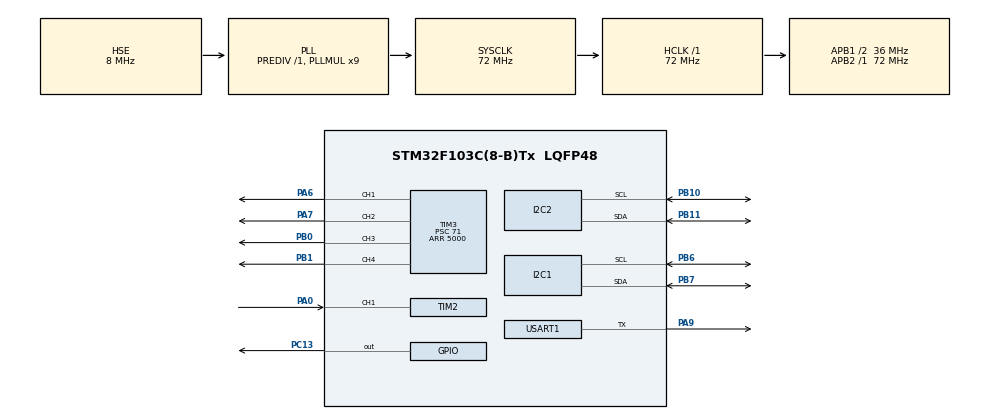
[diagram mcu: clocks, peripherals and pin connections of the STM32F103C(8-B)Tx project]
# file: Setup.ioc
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I2C2.I2C_Mode=I2C_Fast
Mcu.Family=STM32F1
Mcu.Name=STM32F103C(8-B)Tx
Mcu.Package=LQFP48
NVIC.PriorityGroup=NVIC_PRIORITYGROUP_4
NVIC.TIM2_IRQn=true\:0\:0\:false\:false\:true\:true\:true
PA0-WKUP.Signal=S_TIM2_CH1_ETR
PA13.Mode=Serial_Wire
PA13.Signal=SYS_JTMS-SWDIO
PA14.Mode=Serial_Wire
PA14.Signal=SYS_JTCK-SWCLK
PA6.Signal=S_TIM3_CH1
PA7.Signal=S_TIM3_CH2
PA9.Mode=Half_duplex(single_wire_mode)
PA9.Signal=USART1_TX
PB0.Signal=S_TIM3_CH3
PB1.Signal=S_TIM3_CH4
PB10.Mode=I2C
PB10.Signal=I2C2_SCL
PB11.Mode=I2C
PB11.Signal=I2C2_SDA
PB6.Mode=I2C
PB6.Signal=I2C1_SCL
PB7.Mode=I2C
PB7.Signal=I2C1_SDA
PC13-TAMPER-RTC.Signal=GPIO_Output
PD0-OSC_IN.Mode=HSE-External-Oscillator
PD0-OSC_IN.Signal=RCC_OSC_IN
PD1-OSC_OUT.Mode=HSE-External-Oscillator
PD1-OSC_OUT.Signal=RCC_OSC_OUT
ProjectManager.HeapSize=0x200
ProjectManager.StackSize=0x400
ProjectManager.TargetToolchain=Other Toolchains (GPDSC)
RCC.AHBFreq_Value=72000000
RCC.APB1CLKDivider=RCC_HCLK_DIV2
RCC.APB1Freq_Value=36000000
RCC.APB1TimFreq_Value=72000000
RCC.APB2Freq_Value=72000000
RCC.APB2TimFreq_Value=72000000
RCC.HCLKFreq_Value=72000000
RCC.PLLMUL=RCC_PLL_MUL9
RCC.PLLSourceVirtual=RCC_PLLSOURCE_HSE
RCC.SYSCLKFreq_VALUE=72000000
RCC.SYSCLKSource=RCC_SYSCLKSOURCE_PLLCLK
RCC.USBFreq_Value=72000000
SH.S_TIM2_CH1_ETR.0=TIM2_CH1,Input_Capture1_from_TI1
SH.S_TIM3_CH1.0=TIM3_CH1,PWM Generation1 CH1
SH.S_TIM3_CH2.0=TIM3_CH2,PWM Generation2 CH2
SH.S_TIM3_CH3.0=TIM3_CH3,PWM Generation3 CH3
SH.S_TIM3_CH4.0=TIM3_CH4,PWM Generation4 CH4
TIM2.Channel-Input_Capture1_from_TI1=TIM_CHANNEL_1
TIM2.Period=0xFFFF
TIM2.Prescaler=71
TIM3.Channel-PWM\ Generation1\ CH1=TIM_CHANNEL_1
TIM3.Channel-PWM\ Generation2\ CH2=TIM_CHANNEL_2
TIM3.Channel-PWM\ Generation3\ CH3=TIM_CHANNEL_3
TIM3.Channel-PWM\ Generation4\ CH4=TIM_CHANNEL_4
TIM3.Period=5000
TIM3.Prescaler=71
USART1.Mode=MODE_TX
USART1.VirtualMode=VM_ASYNC
board=custom

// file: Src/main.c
/* USER CODE BEGIN Header */
/**
  ******************************************************************************
  * @file           : main.c
  * @brief          : Main program body
  ******************************************************************************
  * @attention
  *
  * <h2><center>&copy; Copyright (c) 2020 STMicroelectronics.
  * All rights reserved.</center></h2>
  *
  * This software component is licensed by ST under BSD 3-Clause license,
  * the "License"; You may not use this file except in compliance with the
  * License. You may obtain a copy of the License at:
  *                        opensource.org/licenses/BSD-3-Clause
  *
  ******************************************************************************
  */
/* USER CODE END Header */

#include "main.h"

/* USER CODE BEGIN Includes */
//#include "motors.h"
//#include "receiver.h"
#include "baro.h"
/* USER CODE END Includes */

/* USER CODE BEGIN PM */
#define SER_MSG_LN 100
/* USER CODE END PM */

I2C_HandleTypeDef hi2c1;
I2C_HandleTypeDef hi2c2;

TIM_HandleTypeDef htim2;
TIM_HandleTypeDef htim3;

UART_HandleTypeDef huart1;

void SystemClock_Config(void);
static void MX_GPIO_Init(void);
static void MX_USART1_UART_Init(void);
static void MX_I2C1_Init(void);
static void MX_I2C2_Init(void);
static void MX_TIM2_Init(void);
static void MX_TIM3_Init(void);

int main(void)
{

  /* MCU Configuration--------------------------------------------------------*/

  /* Reset of all peripherals, Initializes the Flash interface and the Systick. */
  HAL_Init();

  /* Configure the system clock */
  SystemClock_Config();

  /* Initialize all configured peripherals */
  MX_GPIO_Init();
  MX_USART1_UART_Init();
  MX_I2C1_Init();
  MX_I2C2_Init();
  MX_TIM2_Init();
  MX_TIM3_Init();
  /* USER CODE BEGIN 2 */
	//Initializing debug message String
	char message[SER_MSG_LN];
	for (int i = 0; i < SER_MSG_LN; i++) message[i] = ' ';
	message[SER_MSG_LN - 2] = '\n'; message[SER_MSG_LN - 1] = '\r';

	sprintf(message, "Setup start"); //x24: busy, x20 ready
	HAL_UART_Transmit(&huart1, (uint8_t *)message, SER_MSG_LN, 1000);

	//init_motors(&htim3);
	//init_receiver(&htim2);
	//Reset i2c
	__HAL_RCC_I2C2_FORCE_RESET();
	HAL_Delay(1000);
	__HAL_RCC_I2C2_RELEASE_RESET();
	MX_I2C2_Init();
	HAL_Delay(100);
	init_baro(&hi2c2);
	int loopcount = 0;
  /* USER CODE END 2 */

  /* Infinite loop */
  while (1)
  {

    /* USER CODE BEGIN 3 */

	  //set_motors(channel[2]);
	  read_baro();

	  for (int i = 0; i < SER_MSG_LN; i++) message[i] = ' ';
	  message[SER_MSG_LN - 2] = '\n'; message[SER_MSG_LN - 1] = '\r';

	  //sprintf(message, "Channels: 1: %d, 2: %d 3: %d, 4: %d, 5: %d, 6: %d", channel[0], channel[1], channel[2], channel[3], channel[4], channel[5]);        //x24: busy, x20 ready
	  sprintf(message, "pressure: %d", (int)(actual_pressure*1000));
	  if (loopcount ++ % 10 == 0)HAL_UART_Transmit(&huart1, (uint8_t *)message, SER_MSG_LN, 1000);

	  HAL_Delay(4);
  }
  /* USER CODE END 3 */
}

void SystemClock_Config(void)
{
  RCC_OscInitTypeDef RCC_OscInitStruct = {0};
  RCC_ClkInitTypeDef RCC_ClkInitStruct = {0};

  /** Initializes the CPU, AHB and APB busses clocks
  */
  RCC_OscInitStruct.OscillatorType = RCC_OSCILLATORTYPE_HSE;
  RCC_OscInitStruct.HSEState = RCC_HSE_ON;
  RCC_OscInitStruct.HSEPredivValue = RCC_HSE_PREDIV_DIV1;
  RCC_OscInitStruct.HSIState = RCC_HSI_ON;
  RCC_OscInitStruct.PLL.PLLState = RCC_PLL_ON;
  RCC_OscInitStruct.PLL.PLLSource = RCC_PLLSOURCE_HSE;
  RCC_OscInitStruct.PLL.PLLMUL = RCC_PLL_MUL9;
  if (HAL_RCC_OscConfig(&RCC_OscInitStruct) != HAL_OK)
  {
    Error_Handler();
  }
  /** Initializes the CPU, AHB and APB busses clocks
  */
  RCC_ClkInitStruct.ClockType = RCC_CLOCKTYPE_HCLK|RCC_CLOCKTYPE_SYSCLK
                              |RCC_CLOCKTYPE_PCLK1|RCC_CLOCKTYPE_PCLK2;
  RCC_ClkInitStruct.SYSCLKSource = RCC_SYSCLKSOURCE_PLLCLK;
  RCC_ClkInitStruct.AHBCLKDivider = RCC_SYSCLK_DIV1;
  RCC_ClkInitStruct.APB1CLKDivider = RCC_HCLK_DIV2;
  RCC_ClkInitStruct.APB2CLKDivider = RCC_HCLK_DIV1;

  if (HAL_RCC_ClockConfig(&RCC_ClkInitStruct, FLASH_LATENCY_2) != HAL_OK)
  {
    Error_Handler();
  }
}

static void MX_I2C1_Init(void)
{

  hi2c1.Instance = I2C1;
  hi2c1.Init.ClockSpeed = 100000;
  hi2c1.Init.DutyCycle = I2C_DUTYCYCLE_2;
  hi2c1.Init.OwnAddress1 = 0;
  hi2c1.Init.AddressingMode = I2C_ADDRESSINGMODE_7BIT;
  hi2c1.Init.DualAddressMode = I2C_DUALADDRESS_DISABLE;
  hi2c1.Init.OwnAddress2 = 0;
  hi2c1.Init.GeneralCallMode = I2C_GENERALCALL_DISABLE;
  hi2c1.Init.NoStretchMode = I2C_NOSTRETCH_DISABLE;
  if (HAL_I2C_Init(&hi2c1) != HAL_OK)
  {
    Error_Handler();
  }

}

static void MX_I2C2_Init(void)
{

  hi2c2.Instance = I2C2;
  hi2c2.Init.ClockSpeed = 400000;
  hi2c2.Init.DutyCycle = I2C_DUTYCYCLE_2;
  hi2c2.Init.OwnAddress1 = 0;
  hi2c2.Init.AddressingMode = I2C_ADDRESSINGMODE_7BIT;
  hi2c2.Init.DualAddressMode = I2C_DUALADDRESS_DISABLE;
  hi2c2.Init.OwnAddress2 = 0;
  hi2c2.Init.GeneralCallMode = I2C_GENERALCALL_DISABLE;
  hi2c2.Init.NoStretchMode = I2C_NOSTRETCH_DISABLE;
  if (HAL_I2C_Init(&hi2c2) != HAL_OK)
  {
    Error_Handler();
  }

}

static void MX_TIM2_Init(void)
{

  TIM_MasterConfigTypeDef sMasterConfig = {0};
  TIM_IC_InitTypeDef sConfigIC = {0};

  htim2.Instance = TIM2;
  htim2.Init.Prescaler = 71;
  htim2.Init.CounterMode = TIM_COUNTERMODE_UP;
  htim2.Init.Period = 0xFFFF;
  htim2.Init.ClockDivision = TIM_CLOCKDIVISION_DIV1;
  htim2.Init.AutoReloadPreload = TIM_AUTORELOAD_PRELOAD_DISABLE;
  if (HAL_TIM_IC_Init(&htim2) != HAL_OK)
  {
    Error_Handler();
  }
  sMasterConfig.MasterOutputTrigger = TIM_TRGO_RESET;
  sMasterConfig.MasterSlaveMode = TIM_MASTERSLAVEMODE_DISABLE;
  if (HAL_TIMEx_MasterConfigSynchronization(&htim2, &sMasterConfig) != HAL_OK)
  {
    Error_Handler();
  }
  sConfigIC.ICPolarity = TIM_INPUTCHANNELPOLARITY_RISING;
  sConfigIC.ICSelection = TIM_ICSELECTION_DIRECTTI;
  sConfigIC.ICPrescaler = TIM_ICPSC_DIV1;
  sConfigIC.ICFilter = 0;
  if (HAL_TIM_IC_ConfigChannel(&htim2, &sConfigIC, TIM_CHANNEL_1) != HAL_OK)
  {
    Error_Handler();
  }

}

static void MX_TIM3_Init(void)
{

  TIM_MasterConfigTypeDef sMasterConfig = {0};
  TIM_OC_InitTypeDef sConfigOC = {0};

  htim3.Instance = TIM3;
  htim3.Init.Prescaler = 71;
  htim3.Init.CounterMode = TIM_COUNTERMODE_UP;
  htim3.Init.Period = 5000;
  htim3.Init.ClockDivision = TIM_CLOCKDIVISION_DIV1;
  htim3.Init.AutoReloadPreload = TIM_AUTORELOAD_PRELOAD_DISABLE;
  if (HAL_TIM_PWM_Init(&htim3) != HAL_OK)
  {
    Error_Handler();
  }
  sMasterConfig.MasterOutputTrigger = TIM_TRGO_RESET;
  sMasterConfig.MasterSlaveMode = TIM_MASTERSLAVEMODE_DISABLE;
  if (HAL_TIMEx_MasterConfigSynchronization(&htim3, &sMasterConfig) != HAL_OK)
  {
    Error_Handler();
  }
  sConfigOC.OCMode = TIM_OCMODE_PWM1;
  sConfigOC.Pulse = 0;
  sConfigOC.OCPolarity = TIM_OCPOLARITY_HIGH;
  sConfigOC.OCFastMode = TIM_OCFAST_DISABLE;
  if (HAL_TIM_PWM_ConfigChannel(&htim3, &sConfigOC, TIM_CHANNEL_1) != HAL_OK)
  {
    Error_Handler();
  }
  if (HAL_TIM_PWM_ConfigChannel(&htim3, &sConfigOC, TIM_CHANNEL_2) != HAL_OK)
  {
    Error_Handler();
  }
  if (HAL_TIM_PWM_ConfigChannel(&htim3, &sConfigOC, TIM_CHANNEL_3) != HAL_OK)
  {
    Error_Handler();
  }
  if (HAL_TIM_PWM_ConfigChannel(&htim3, &sConfigOC, TIM_CHANNEL_4) != HAL_OK)
  {
    Error_Handler();
  }
  HAL_TIM_MspPostInit(&htim3);

}

static void MX_USART1_UART_Init(void)
{

  huart1.Instance = USART1;
  huart1.Init.BaudRate = 115200;
  huart1.Init.WordLength = UART_WORDLENGTH_8B;
  huart1.Init.StopBits = UART_STOPBITS_1;
  huart1.Init.Parity = UART_PARITY_NONE;
  huart1.Init.Mode = UART_MODE_TX;
  huart1.Init.HwFlowCtl = UART_HWCONTROL_NONE;
  huart1.Init.OverSampling = UART_OVERSAMPLING_16;
  if (HAL_HalfDuplex_Init(&huart1) != HAL_OK)
  {
    Error_Handler();
  }

}

static void MX_GPIO_Init(void)
{
  GPIO_InitTypeDef GPIO_InitStruct = {0};

  /* GPIO Ports Clock Enable */
  __HAL_RCC_GPIOC_CLK_ENABLE();
  __HAL_RCC_GPIOD_CLK_ENABLE();
  __HAL_RCC_GPIOA_CLK_ENABLE();
  __HAL_RCC_GPIOB_CLK_ENABLE();

  /*Configure GPIO pin Output Level */
  HAL_GPIO_WritePin(GPIOC, GPIO_PIN_13, GPIO_PIN_RESET);

  /*Configure GPIO pin : PC13 */
  GPIO_InitStruct.Pin = GPIO_PIN_13;
  GPIO_InitStruct.Mode = GPIO_MODE_OUTPUT_PP;
  GPIO_InitStruct.Pull = GPIO_NOPULL;
  GPIO_InitStruct.Speed = GPIO_SPEED_FREQ_LOW;
  HAL_GPIO_Init(GPIOC, &GPIO_InitStruct);

}

void Error_Handler(void)
{
}

/************************ (C) COPYRIGHT STMicroelectronics *****END OF FILE****/
